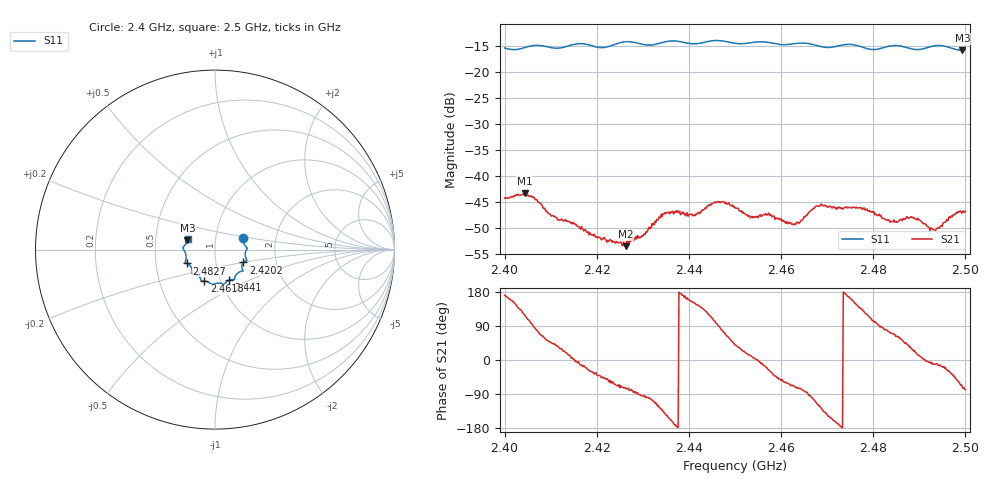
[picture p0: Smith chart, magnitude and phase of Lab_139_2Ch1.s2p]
# Hz S RI R 50
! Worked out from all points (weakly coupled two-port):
!   601 points, 2.4 GHz to 2.5 GHz, reference 50 ohm
!   highest |S21| = -43.25 dB at 2.4043 GHz (marker M1); lowest = -53.4 dB at 2.4263 GHz (marker M2)
!   lowest |S11| = -15.8 dB at 2.4993 GHz (marker M3), VSWR 1.39, Z = 36.5 + j3.85 ohm
!   |S11| at or under -10 dB: start of sweep to end of sweep
!   S12 and S22 are empty: the file has one direction only
!   S11 on the Smith chart (normalised r, x): 2.4 GHz: 1.36, +0.18; 2.4202 GHz: 1.36, -0.20; 2.441 GHz: 1.10, -0.39; 2.4618 GHz: 0.84, -0.30; 2.4827 GHz: 0.72, -0.12; 2.5 GHz: 0.73, +0.09
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2.4e9  0.1583 0.0628  -0.00607 0.00101  0 0  0 0
2.404333e9  0.1713 0.0172  -0.00333 0.00602  0 0  0 0
2.416667e9  0.1776 -0.0608  0.0032 -0.000785  0 0  0 0
2.420167e9  0.1583 -0.0714  0.00193 -0.00167  0 0  0 0
2.426333e9  0.1566 -0.1181  0.000508 -0.00207  0 0  0 0
2.433333e9  0.1116 -0.151  -0.00189 -0.0033  0 0  0 0
2.436e9  0.1093 -0.1665  -0.00426 -0.00167  0 0  0 0
2.441e9  0.0784 -0.1698  -0.00365 0.00203  0 0  0 0
2.445833e9  0.0504 -0.1949  -0.000754 0.0055  0 0  0 0
2.45e9  0.0284 -0.187  0.00381 0.00317  0 0  0 0
2.453333e9  -0.00311 -0.1914  0.00388 0.000844  0 0  0 0
2.457167e9  -0.0205 -0.1922  0.00393 -0.00184  0 0  0 0
2.461833e9  -0.0595 -0.1754  0.00148 -0.00321  0 0  0 0
2.464167e9  -0.0739 -0.1751  0.000939 -0.00351  0 0  0 0
2.466667e9  -0.0782 -0.1682  -0.000697 -0.00472  0 0  0 0
2.476833e9  -0.1269 -0.1255  -0.00387 0.00311  0 0  0 0
2.482667e9  -0.1561 -0.0773  0.000614 0.00383  0 0  0 0
2.483333e9  -0.1604 -0.0752  0.00093 0.00372  0 0  0 0
2.4885e9  -0.1607 -0.0434  0.00355 0.00179  0 0  0 0
2.493333e9  -0.179 0.00616  0.00298 -0.000567  0 0  0 0
2.499333e9  -0.1539 0.0514  0.0015 -0.00428  0 0  0 0
2.5e9  -0.1523 0.061  0.000913 -0.00453  0 0  0 0
